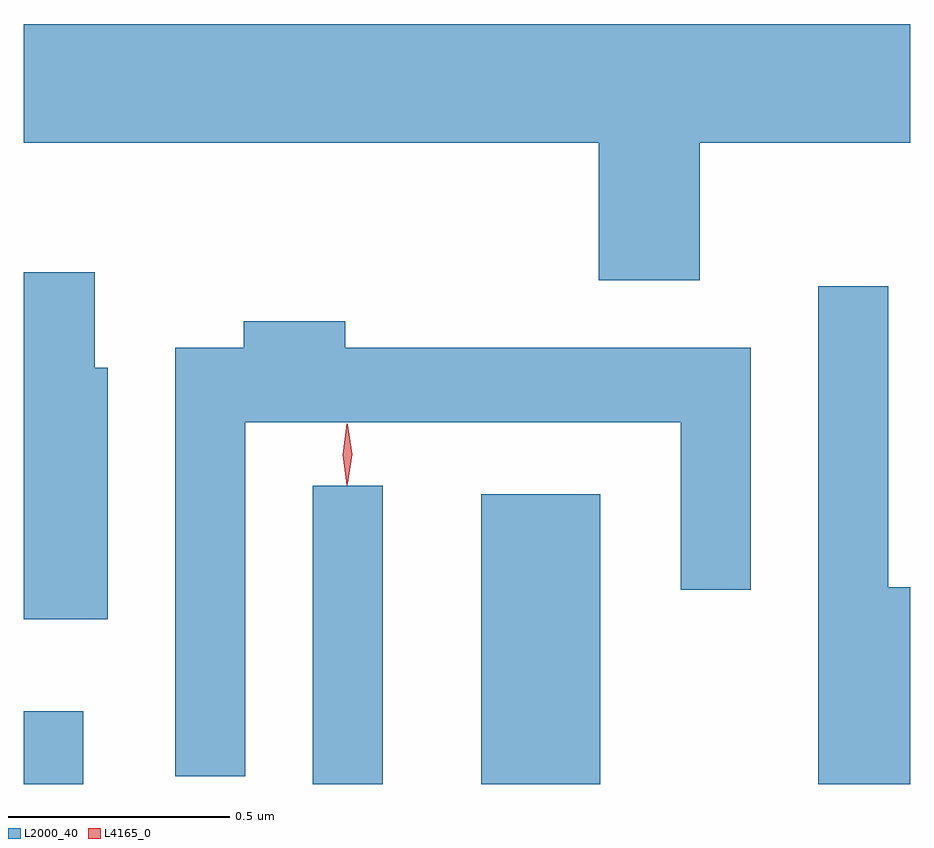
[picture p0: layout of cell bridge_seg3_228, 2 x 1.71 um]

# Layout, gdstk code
import gdstk
lib = gdstk.Library(unit=1e-6, precision=1e-09)
def R(c, l, rs):  # rectangles x0, y0, x1, y1
    for r in rs: c.add(gdstk.rectangle(r[:2], r[2:], *l))
def P(c, l, *ps):  # polygons
    for p in ps: c.add(gdstk.Polygon(p, *l))
L2000_40 = (2000, 40)
L4165_0 = (4165, 0)

bridge_seg3_228 = lib.new_cell('bridge_seg3_228')
R(bridge_seg3_228, L2000_40, [(936.094,1168.97,936.229,1169.134), (936.746,1168.97,936.904,1169.643), (937.126,1168.97,937.394,1169.624)])
P(bridge_seg3_228, L2000_40, [(937.619,1170.416),(938.094,1170.416),(938.094,1170.684),(936.094,1170.684),(936.094,1170.416),(937.391,1170.416),(937.391,1170.106),(937.619,1170.106)],
  [(936.284,1169.909),(936.254,1169.909),(936.254,1170.124),(936.094,1170.124),(936.094,1169.341),(936.284,1169.341)],
  [(938.094,1169.414),(938.044,1169.414),(938.044,1170.093),(937.886,1170.093),(937.886,1168.97),(938.094,1168.97)],
  [(936.594,1169.786),(937.576,1169.786),(937.576,1169.408),(937.734,1169.408),(937.734,1169.954),(936.819,1169.954),(936.819,1170.014),(936.591,1170.014),(936.591,1169.954),(936.436,1169.954),(936.436,1168.988),(936.594,1168.988)])
P(bridge_seg3_228, L4165_0, [(936.825,1169.647),(936.824,1169.648),(936.815,1169.714),(936.824,1169.78),(936.825,1169.781),(936.825,1169.78),(936.835,1169.714),(936.825,1169.648)],
  [(936.823,1169.644),(936.814,1169.713),(936.823,1169.782),(936.823,1169.783),(936.824,1169.782),(936.834,1169.713),(936.824,1169.644),(936.824,1169.644)])

lib.write_gds('bridge_seg3_228.gds')
